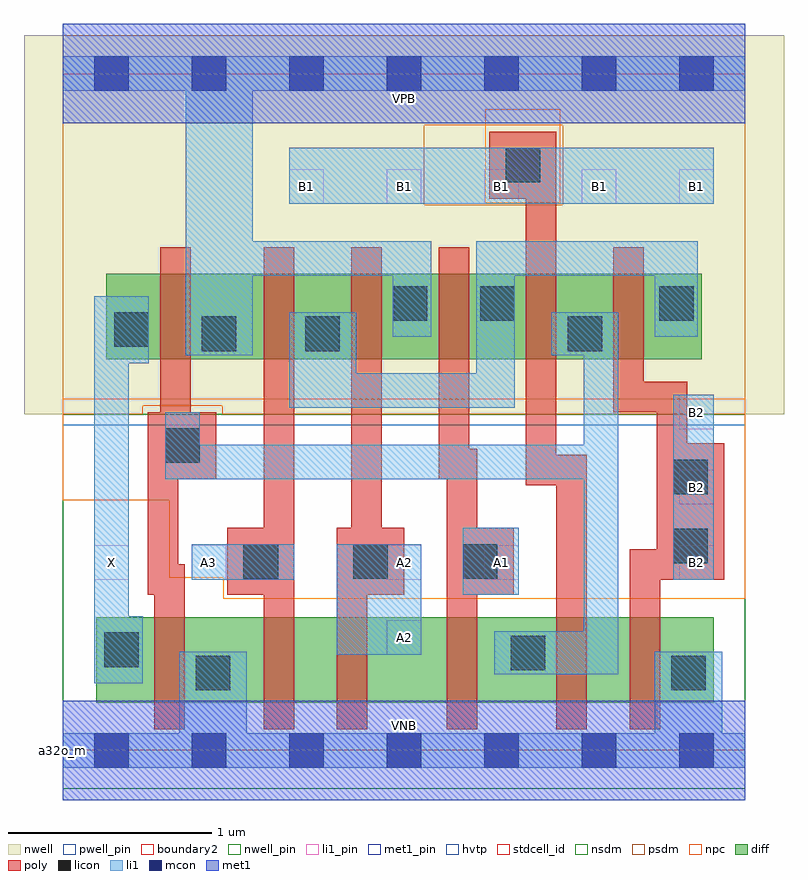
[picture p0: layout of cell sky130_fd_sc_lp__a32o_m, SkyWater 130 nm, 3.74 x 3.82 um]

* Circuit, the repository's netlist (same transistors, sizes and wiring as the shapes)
* Copyright 2020 The SkyWater PDK Authors
*
* Licensed under the Apache License, Version 2.0 (the "License");
* you may not use this file except in compliance with the License.
* You may obtain a copy of the License at
*
*     https://www.apache.org/licenses/LICENSE-2.0
*
* Unless required by applicable law or agreed to in writing, software
* distributed under the License is distributed on an "AS IS" BASIS,
* WITHOUT WARRANTIES OR CONDITIONS OF ANY KIND, either express or implied.
* See the License for the specific language governing permissions and
* limitations under the License.
*
* SPDX-License-Identifier: Apache-2.0

.SUBCKT sky130_fd_sc_lp__a32o_m A1 A2 A3 B1 B2 VGND VNB VPB VPWR X
*.PININFO A1:I A2:I A3:I B1:I B2:I VGND:I VNB:I VPB:I VPWR:I X:O
MMPA0 pndA A1 VPWR VPB sky130_fd_pr__pfet_01v8_hvt m=1 w=0.42U l=0.15U mult=1 sa=0.265
+ sb=0.265 sd=0.28 area=0.063 perim=1.14
MMPA1 pndA A2 VPWR VPB sky130_fd_pr__pfet_01v8_hvt m=1 w=0.42U l=0.15U mult=1 sa=0.265
+ sb=0.265 sd=0.28 area=0.063 perim=1.14
MMPA2 pndA A3 VPWR VPB sky130_fd_pr__pfet_01v8_hvt m=1 w=0.42U l=0.15U mult=1 sa=0.265
+ sb=0.265 sd=0.28 area=0.063 perim=1.14
MMPB0 y B1 pndA VPB sky130_fd_pr__pfet_01v8_hvt m=1 w=0.42U l=0.15U mult=1 sa=0.265
+ sb=0.265 sd=0.28 area=0.063 perim=1.14
MMPB1 y B2 pndA VPB sky130_fd_pr__pfet_01v8_hvt m=1 w=0.42U l=0.15U mult=1 sa=0.265
+ sb=0.265 sd=0.28 area=0.063 perim=1.14
MMIPX X y VPWR VPB sky130_fd_pr__pfet_01v8_hvt m=1 w=0.42U l=0.15U mult=1 sa=0.265
+ sb=0.265 sd=0.28 area=0.063 perim=1.14
MMNA0 y A1 sndA1 VNB sky130_fd_pr__nfet_01v8 m=1 w=0.42U l=0.15U mult=1 sa=0.265
+ sb=0.265 sd=0.28 area=0.063 perim=1.14
MMNA1 sndA1 A2 sndA2 VNB sky130_fd_pr__nfet_01v8 m=1 w=0.42U l=0.15U mult=1 sa=0.265
+ sb=0.265 sd=0.28 area=0.063 perim=1.14
MMNA2 sndA2 A3 VGND VNB sky130_fd_pr__nfet_01v8 m=1 w=0.42U l=0.15U mult=1 sa=0.265
+ sb=0.265 sd=0.28 area=0.063 perim=1.14
MMNB0 y B1 sndB1 VNB sky130_fd_pr__nfet_01v8 m=1 w=0.42U l=0.15U mult=1 sa=0.265
+ sb=0.265 sd=0.28 area=0.063 perim=1.14
MMNB1 sndB1 B2 VGND VNB sky130_fd_pr__nfet_01v8 m=1 w=0.42U l=0.15U mult=1 sa=0.265
+ sb=0.265 sd=0.28 area=0.063 perim=1.14
MMINX X y VGND VNB sky130_fd_pr__nfet_01v8 m=1 w=0.42U l=0.15U mult=1 sa=0.265
+ sb=0.265 sd=0.28 area=0.063 perim=1.14
.ENDS sky130_fd_sc_lp__a32o_m

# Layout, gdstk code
import gdstk
lib = gdstk.Library(unit=1e-6, precision=1e-09)
def R(c, l, rs):  # rectangles x0, y0, x1, y1
    for r in rs: c.add(gdstk.rectangle(r[:2], r[2:], *l))
def A(c, l, x, y, w, h, nx, ny, dx, dy):  # array of equal rectangles
    R(c, l, [(x+i*dx, y+j*dy, x+i*dx+w, y+j*dy+h) for i in range(nx) for j in range(ny)])
def P(c, l, *ps):  # polygons
    for p in ps: c.add(gdstk.Polygon(p, *l))
nwell_pin = (64, 16)
nwell = (64, 20)
diff = (65, 20)
poly = (66, 20)
licon = (66, 44)
li1_pin = (67, 16)
li1 = (67, 20)
mcon = (67, 44)
met1_pin = (68, 16)
met1 = (68, 20)
hvtp = (78, 44)
stdcell_id = (81, 4)
nsdm = (93, 44)
psdm = (94, 20)
npc = (95, 20)
pwell_pin = (122, 16)
boundary2 = (236, 0)

sky130_fd_sc_lp__a32o_m = lib.new_cell('sky130_fd_sc_lp__a32o_m')
R(sky130_fd_sc_lp__a32o_m, nwell_pin, [(0,3.085,3.36,3.33)])
R(sky130_fd_sc_lp__a32o_m, nwell, [(-0.19,1.655,3.55,3.52)])
R(sky130_fd_sc_lp__a32o_m, diff, [(0.165,0.235,3.205,0.655), (0.215,1.925,3.145,2.345)])
P(sky130_fd_sc_lp__a32o_m, poly, [(0.755,1.665),(0.63,1.665),(0.63,2.475),(0.48,2.475),(0.48,1.665),(0.42,1.665),(0.42,0.765),(0.45,0.765),(0.45,0.105),(0.6,0.105),(0.6,0.915),(0.57,0.915),(0.57,1.335),(0.755,1.335)],
  [(1.14,2.475),(0.99,2.475),(0.99,1.095),(0.81,1.095),(0.81,0.765),(0.99,0.765),(0.99,0.105),(1.14,0.105)],
  [(1.68,1.095),(1.57,1.095),(1.57,2.475),(1.42,2.475),(1.42,1.095),(1.35,1.095),(1.35,0.105),(1.5,0.105),(1.5,0.765),(1.68,0.765)],
  [(2.22,1.095),(2.04,1.095),(2.04,1.485),(2,1.485),(2,2.475),(1.85,2.475),(1.85,1.335),(1.89,1.335),(1.89,0.105),(2.04,0.105),(2.04,0.765),(2.22,0.765)],
  [(2.58,1.455),(2.43,1.455),(2.43,3.045),(2.1,3.045),(2.1,2.715),(2.28,2.715),(2.28,1.305),(2.43,1.305),(2.43,0.105),(2.58,0.105)],
  [(3.255,1.51),(3.075,1.51),(3.075,1.815),(2.86,1.815),(2.86,2.475),(2.71,2.475),(2.71,1.665),(2.925,1.665),(2.925,0.99),(2.79,0.99),(2.79,0.105),(2.94,0.105),(2.94,0.84),(3.255,0.84)])
A(sky130_fd_sc_lp__a32o_m, licon, 0.89, 0.845, 0.17, 0.17, 3, 1, 0.54, 0)
R(sky130_fd_sc_lp__a32o_m, licon, [(0.655,0.295,0.825,0.465), (2.995,0.295,3.165,0.465), (2.205,0.395,2.375,0.565), (0.205,0.41,0.375,0.58), (3.005,0.92,3.175,1.09), (3.005,1.26,3.175,1.43), (0.505,1.415,0.675,1.585), (0.685,1.965,0.855,2.135), (1.195,1.965,1.365,2.135), (2.485,1.965,2.655,2.135), (0.255,1.985,0.425,2.155), (1.625,2.115,1.795,2.285), (2.055,2.115,2.225,2.285), (2.935,2.115,3.105,2.285), (2.18,2.795,2.35,2.965)])
A(sky130_fd_sc_lp__a32o_m, li1_pin, 3.035, 0.84, 0.17, 0.17, 1, 3, 0, 0.37)
A(sky130_fd_sc_lp__a32o_m, li1_pin, 1.115, 2.69, 0.17, 0.17, 5, 1, 0.48, 0)
R(sky130_fd_sc_lp__a32o_m, li1_pin, [(1.595,0.47,1.765,0.64), (0.155,0.84,0.325,1.01), (0.635,0.84,0.805,1.01), (1.595,0.84,1.765,1.01), (2.075,0.84,2.245,1.01)])
R(sky130_fd_sc_lp__a32o_m, li1, [(1.35,0.47,1.765,1.015), (1.97,0.765,2.245,1.095), (0.635,0.84,1.14,1.015), (3.005,0.84,3.205,1.75), (1.115,2.69,3.205,2.965)])
P(sky130_fd_sc_lp__a32o_m, li1, [(0.605,1.945),(0.605,3.245),(0,3.245),(0,3.415),(3.36,3.415),(3.36,3.245),(0.935,3.245),(0.935,2.505),(1.815,2.505),(1.815,2.035),(1.625,2.035),(1.625,2.335),(0.935,2.335),(0.935,1.945)],
  [(2.915,0.085),(2.915,0.485),(3.245,0.485),(3.245,0.085),(3.36,0.085),(3.36,-0.085),(0,-0.085),(0,0.085),(0.575,0.085),(0.575,0.485),(0.905,0.485),(0.905,0.085)],
  [(2.405,1.945),(2.405,2.155),(2.735,2.155),(2.735,0.375),(2.125,0.375),(2.125,0.585),(2.565,0.585),(2.565,1.335),(0.505,1.335),(0.505,1.665),(0.675,1.665),(0.675,1.505),(2.565,1.505),(2.565,1.945)],
  [(2.915,2.335),(2.225,2.335),(2.225,1.685),(1.115,1.685),(1.115,2.155),(1.445,2.155),(1.445,1.855),(2.035,1.855),(2.035,2.505),(3.125,2.505),(3.125,2.035),(2.915,2.035)],
  [(0.155,0.33),(0.155,2.235),(0.425,2.235),(0.425,1.905),(0.325,1.905),(0.325,0.66),(0.395,0.66),(0.395,0.33)])
A(sky130_fd_sc_lp__a32o_m, mcon, 0.155, -0.085, 0.17, 0.17, 7, 2, 0.48, 3.33)
R(sky130_fd_sc_lp__a32o_m, met1_pin, [(0,0,3.36,0.245), (0,3.085,3.36,3.33)])
R(sky130_fd_sc_lp__a32o_m, met1, [(0,-0.245,3.36,0.245), (0,3.085,3.36,3.575)])
R(sky130_fd_sc_lp__a32o_m, hvtp, [(0,1.6,3.36,3.33)])
R(sky130_fd_sc_lp__a32o_m, stdcell_id, [(0,0,3.36,3.33)])
R(sky130_fd_sc_lp__a32o_m, nsdm, [(0,-0.19,3.36,1.655)])
P(sky130_fd_sc_lp__a32o_m, psdm, [(3.36,3.52),(2.46,3.52),(2.46,2.685),(1.78,2.685),(1.78,3.075),(2.46,3.075),(2.46,3.52),(0,3.52),(0,1.655),(0.395,1.655),(0.395,1.695),(0.785,1.695),(0.785,1.655),(3.36,1.655)])
R(sky130_fd_sc_lp__a32o_m, npc, [(2.08,2.695,2.45,3.155)])
P(sky130_fd_sc_lp__a32o_m, npc, [(3.36,1.73),(0,1.73),(0,1.23),(0.525,1.23),(0.525,0.85),(0.79,0.85),(0.79,0.745),(3.36,0.745)])
R(sky130_fd_sc_lp__a32o_m, pwell_pin, [(0,0,3.36,0.245)])
R(sky130_fd_sc_lp__a32o_m, boundary2, [(0,0,3.36,3.33)])
sky130_fd_sc_lp__a32o_m.add(gdstk.Label('VNB', (1.68,0.123), layer=64, texttype=59))
sky130_fd_sc_lp__a32o_m.add(gdstk.Label('VPB', (1.68,3.208), layer=64, texttype=5))
sky130_fd_sc_lp__a32o_m.add(gdstk.Label('a32o_m', (0,0), layer=83, texttype=44))
sky130_fd_sc_lp__a32o_m.add(gdstk.Label('VPWR', (1.68,3.208), layer=68, texttype=5))
sky130_fd_sc_lp__a32o_m.add(gdstk.Label('VGND', (1.68,0.123), layer=68, texttype=5))
sky130_fd_sc_lp__a32o_m.add(gdstk.Label('A1', (2.16,0.925), layer=67, texttype=5))
sky130_fd_sc_lp__a32o_m.add(gdstk.Label('A2', (1.68,0.555), layer=67, texttype=5))
sky130_fd_sc_lp__a32o_m.add(gdstk.Label('A2', (1.68,0.925), layer=67, texttype=5))
sky130_fd_sc_lp__a32o_m.add(gdstk.Label('A3', (0.72,0.925), layer=67, texttype=5))
sky130_fd_sc_lp__a32o_m.add(gdstk.Label('B2', (3.12,0.925), layer=67, texttype=5))
sky130_fd_sc_lp__a32o_m.add(gdstk.Label('B2', (3.12,1.295), layer=67, texttype=5))
sky130_fd_sc_lp__a32o_m.add(gdstk.Label('B2', (3.12,1.665), layer=67, texttype=5))
sky130_fd_sc_lp__a32o_m.add(gdstk.Label('B1', (1.2,2.775), layer=67, texttype=5))
sky130_fd_sc_lp__a32o_m.add(gdstk.Label('B1', (1.68,2.775), layer=67, texttype=5))
sky130_fd_sc_lp__a32o_m.add(gdstk.Label('B1', (2.16,2.775), layer=67, texttype=5))
sky130_fd_sc_lp__a32o_m.add(gdstk.Label('B1', (2.64,2.775), layer=67, texttype=5))
sky130_fd_sc_lp__a32o_m.add(gdstk.Label('B1', (3.12,2.775), layer=67, texttype=5))
sky130_fd_sc_lp__a32o_m.add(gdstk.Label('X', (0.24,0.925), layer=67, texttype=5))

lib.write_gds('sky130_fd_sc_lp__a32o_m.gds')
